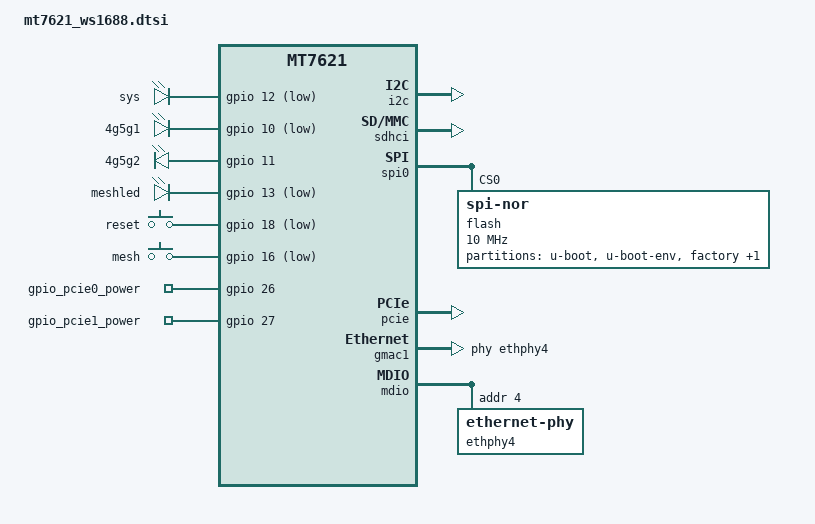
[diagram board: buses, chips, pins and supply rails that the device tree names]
// SPDX-License-Identifier: BSD-3-Clause
/*
 *  Copyright(c) 2017 Kristian Evensen <kristian.evensen@gmail.com>.
 *  Copyright(c) 2017 Piotr Dymacz <pepe2k@gmail.com>.
 *  All rights reserved.
 */

#include "mt7621.dtsi"

#include <dt-bindings/gpio/gpio.h>
#include <dt-bindings/input/input.h>

/ {
	compatible = "huasifei,ws1688", "mediatek,mt7621-soc";

	aliases {
		led-boot = &led_sys;
		led-failsafe = &led_sys;
		led-running = &led_sys;
		led-upgrade = &led_sys;
		label-mac-device = &gmac0;
	};

	chosen {
		bootargs = "console=ttyS0,115200";
	};

	leds {
		compatible = "gpio-leds";
		pinctrl-names = "default";

		led_sys: sys {
			label = "sys";
			gpios = <&gpio 12 GPIO_ACTIVE_LOW>;
		};

		4g5g1 {
			label = "4g5g1";
			gpios = <&gpio 10 GPIO_ACTIVE_LOW>;
		};
		
		4g5g2 {
			label = "4g5g2";
			gpios = <&gpio 11 GPIO_ACTIVE_HIGH>;
		};
		meshled {
			label = "meshled";
			gpios = <&gpio 13 GPIO_ACTIVE_LOW>;
		};
		
	};

	keys {
		compatible = "gpio-keys-polled";
		poll-interval = <50>;
		pinctrl-names = "default";

		reset {
			label = "reset";
			gpios = <&gpio 18 GPIO_ACTIVE_LOW>;
			linux,code = <KEY_RESTART>;
		};
		
		mesh {
			label = "mesh";
			gpios = <&gpio 16 GPIO_ACTIVE_LOW>;
			linux,code = <BTN_0>;
		};
	};

	gpio-export {
		compatible = "gpio-export";
		#size-cells = <0>;
 
		gpio_pcie0_power {
			gpio-export,output = <1>;
			gpios = <&gpio 26 GPIO_ACTIVE_HIGH>;
		};
		
		gpio_pcie1_power {
			gpio-export,output = <1>;
			gpios = <&gpio 27 GPIO_ACTIVE_HIGH>;
		};
	};

};

&i2c {
	status = "okay";
};

&sdhci {
	status = "okay";
};

&spi0 {
	status = "okay";

	flash@0 {
		compatible = "jedec,spi-nor";
		reg = <0>;
		spi-max-frequency = <10000000>;

		partitions {
			compatible = "fixed-partitions";
			#address-cells = <1>;
			#size-cells = <1>;

			partition@0 {
				label = "u-boot";
				reg = <0x0 0x30000>;
				read-only;
			};

			partition@30000 {
				label = "u-boot-env";
				reg = <0x30000 0x10000>;
				read-only;
			};

			factory: partition@40000 {
				label = "factory";
				reg = <0x40000 0x10000>;
				
				compatible = "nvmem-cells";
				#address-cells = <1>;
				#size-cells = <1>;

				macaddr_factory_e000: macaddr@e000 {
					reg = <0xe000 0x6>;
				};

				macaddr_factory_e006: macaddr@e006 {
					reg = <0xe006 0x6>;
				};
			};

			firmware: partition@50000 {
				compatible = "denx,uimage";
				label = "firmware";
			};
		};
	};
};

&pcie {
	status = "okay";
};

&pcie1 {
	wifi@0,0 {
		reg = <0x0 0 0 0 0>;
		mediatek,mtd-eeprom = <&factory 0x0>;
	};
};

&gmac0 {
	nvmem-cells = <&macaddr_factory_e000>;
	nvmem-cell-names = "mac-address";
};

&gmac1 {
	status = "okay";
	label = "wan";
	phy-handle = <&ethphy4>;

	nvmem-cells = <&macaddr_factory_e006>;
	nvmem-cell-names = "mac-address";
};

&mdio {
	ethphy4: ethernet-phy@4 {
		reg = <4>;
	};
};

&switch0 {
	ports {

		port@1 {
			status = "okay";
			label = "lan1";
		};

		port@2 {
			status = "okay";
			label = "lan2";
		};

		port@3 {
			status = "okay";
			label = "lan3";
		};
	};
};

&state_default {
	gpio {
		groups = "i2c", "jtag", "wdt";
		function = "gpio";
	};
};

&factory {
	compatible = "nvmem-cells";
	#address-cells = <1>;
	#size-cells = <1>;

	macaddr_factory_e000: macaddr@e000 {
		reg = <0xe000 0x6>;
	};
};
